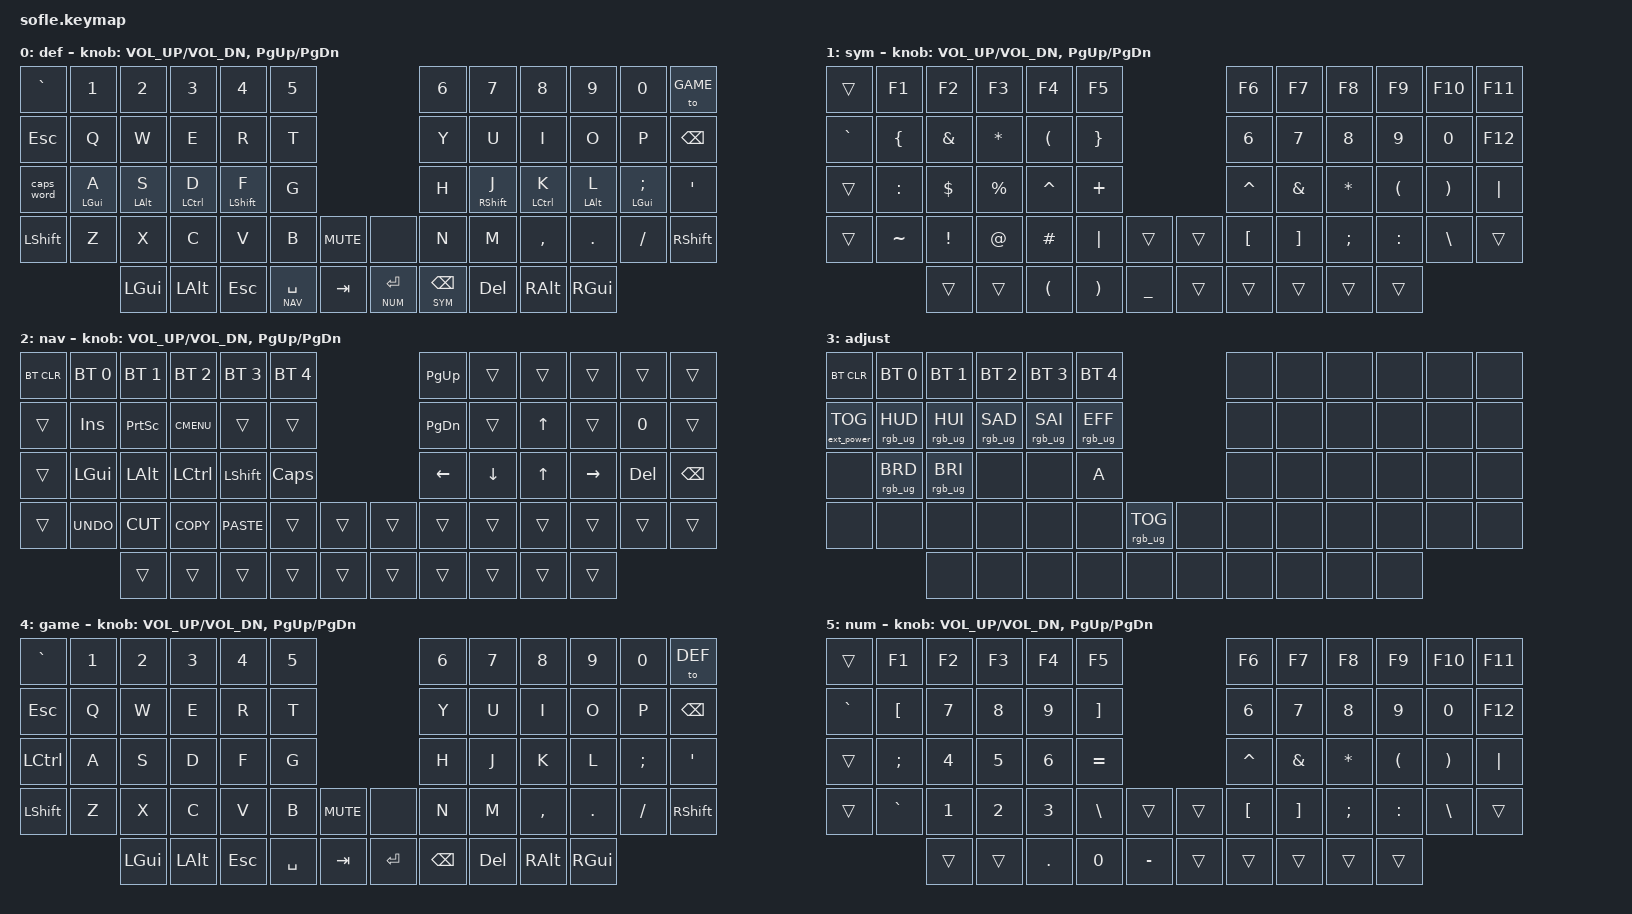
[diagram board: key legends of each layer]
/*
 * Copyright (c) 2020 The ZMK Contributors
 *
 * SPDX-License-Identifier: MIT
 */
#include "zmk-helpers/helper.h"
#include "zmk-helpers/key-labels/sofle.h"

#include <behaviors.dtsi>
#include <dt-bindings/zmk/keys.h>
#include <dt-bindings/zmk/bt.h>
#include <dt-bindings/zmk/rgb.h>
#include <dt-bindings/zmk/ext_power.h>

  
#define DEF 0
#define SYM 1
#define NAV 2
#define ADJUST 3
#define GAME 4
#define NUM 5



#define NUMROW LN0 LN1 LN2 LN3 LN4 LN5 RN0 RN1 RN2 RN3 RN4 RN5
#define KEYS_L LT0 LT1 LT2 LT3 LT4 LT5 LM0 LM1 LM2 LM3 LM4 LM5 LB0 LB1 LB2 LB3 LB4 LB5
#define KEYS_R RT0 RT1 RT2 RT3 RT4 RT5 RM0 RM1 RM2 RM3 RM4 RM5 RB0 RB1 RB2 RB3 RB4 RB5
#define THUMBS_L LH0 LH1 LH2 LH3 LH4
#define THUMBS_R RH0 RH1 RH2 RH3 RH4
#define THUMBS THUMBS_L THUMBS_R
  
ZMK_HOLD_TAP(hml,
    flavor = "balanced";
    tapping-term-ms = <280>;
    require-prior-idle-ms = <150>;
    hold-trigger-key-positions = <KEYS_R THUMBS>;
    hold-trigger-on-release;
    bindings = <&kp>, <&kp>;
)

ZMK_HOLD_TAP(hmr,
    flavor = "balanced";
    tapping-term-ms = <280>;
    require-prior-idle-ms = <150>;
    hold-trigger-key-positions = <KEYS_L THUMBS>;
    hold-trigger-on-release;
    bindings = <&kp>, <&kp>;
)

/ {

   // Activate ADJUST layer by pressing raise and lower
    conditional_layers {
        compatible = "zmk,conditional-layers";
        adjust_layer {
            if-layers = <NAV SYM>;
            then-layer = <ADJUST>;
        };
    };

    keymap {
        compatible = "zmk,keymap";

        def_layer {
            display-name = "def";
// ------------------------------------------------------------------------------------------------------------
// |   `   |  1  |  2  |  3   |  4   |  5   |                   |  6   |  7    |  8    |  9   |   0   |       |
// |  ESC  |  Q  |  W  |  E   |  R   |  T   |                   |  Y   |  U    |  I    |  O   |   P   | BKSPC |
// |  TAB  |  A  |  S  |  D   |  F   |  G   |                   |  H   |  J    |  K    |  L   |   ;   |   '   |
// | SHIFT |  Z  |  X  |  C   |  V   |  B   |  MUTE  |  |       |  N   |  M    |  ,    |  .   |   /   | SHIFT |
//               | GUI | ALT  | CTRL | LOWER|  ENTER |  | SPACE | RAISE| CTRL  | ALT   | GUI  |
            bindings = <
&kp GRAVE   &kp N1          &kp N2              &kp N3          &kp N4          &kp N5                                              &kp N6          &kp N7          &kp N8          &kp N9          &kp N0          &to GAME
&kp ESC     &kp Q           &kp W               &kp E           &kp R           &kp T                                               &kp Y           &kp U           &kp I           &kp O           &kp P           &kp BSPC
&caps_word  &hml LGUI A     &hml LALT S         &hml LCTRL D    &hml LSHFT F    &kp G                                               &kp H           &hmr RSHFT J    &hmr LCTRL K    &hmr LALT L     &hmr LGUI SEMI  &kp SQT
&kp LSHFT   &kp Z           &kp X               &kp C           &kp V           &kp B           &kp C_MUTE          &none           &kp N           &kp M           &kp COMMA       &kp DOT         &kp FSLH        &kp RSHFT
                            &kp LGUI            &kp LALT        &kp ESC   &lt NAV SPACE         &kp TAB             &lt NUM RET         &lt SYM BSPC    &kp DEL     &kp RALT        &kp RGUI
            >;

            sensor-bindings = <&inc_dec_kp C_VOL_UP C_VOL_DN &inc_dec_kp PG_UP PG_DN>;
        };

        sym_layer {
            display-name = "sym";
// TODO: Some binds are waiting for shifted keycode support.
// ------------------------------------------------------------------------------------------------------------
// |       |  F1 |  F2 |  F3  |  F4  |  F5  |                   |  F6  |  F7   |  F8   |  F9  |  F10  |  F11  |
// |   `   |  1  |  2  |  3   |  4   |  5   |                   |  6   |  7    |  8    |  9   |   0   |  F12  |
// |       |  !  |  @  |  #   |  $   |  %   |                   |  ^   |  &    |  *    |  (   |   )   |   |   |
// |       |  =  |  -  |  +   |  {   |  }   |        |  |       |  [   |  ]    |  ;    |  :   |   \   |       |
//               |     |      |      |      |        |  |       |      |       |       |      |
            bindings = <
&trans      &kp F1        &kp F2        &kp F3        &kp F4        &kp F5                              &kp F6    &kp F7   &kp F8    &kp F9    &kp F10   &kp F11
&kp GRAVE   &kp LBRC      &kp AMPS      &kp ASTRK     &kp LPAR      &kp RBRC                            &kp N6    &kp N7   &kp N8    &kp N9    &kp N0    &kp F12
&trans      &kp COLON     &kp DLLR      &kp PRCNT     &kp CARET     &kp PLUS                            &kp CARET &kp AMPS &kp ASTRK &kp LPAR  &kp RPAR  &kp PIPE
&trans      &kp TILDE     &kp EXCL      &kp AT        &kp HASH      &kp PIPE      &trans        &trans  &kp LBKT  &kp RBKT &kp SEMI  &kp COLON &kp BSLH  &trans
                          &trans        &trans        &kp LPAR      &kp RPAR      &kp UNDER     &trans  &trans    &trans   &trans    &trans
            >;

            sensor-bindings = <&inc_dec_kp C_VOL_UP C_VOL_DN &inc_dec_kp PG_UP PG_DN>;
        };

        nav_layer {
            display-name = "nav";
// ------------------------------------------------------------------------------------------------------------
// | BTCLR | BT1  | BT2  |  BT3  |  BT4  |  BT5 |                |      |      |       |      |       |       |
// |       | INS  | PSCR | GUI   |       |      |                | PGUP |      |   ^   |      |       |       |
// |       | ALT  | CTRL | SHIFT |       | CAPS |                | PGDN |   <- |   v   |  ->  |  DEL  | BKSPC |
// |       | UNDO | CUT  | COPY  | PASTE |      |      |  |      |      |      |       |      |       |       |
//                |      |       |       |      |      |  |      |      |      |       |      |
            bindings = <
&bt BT_CLR &bt BT_SEL 0 &bt BT_SEL 1 &bt BT_SEL 2 &bt BT_SEL 3 &bt BT_SEL 4                  &kp PG_UP      &trans      &trans   &trans    &trans  &trans
&trans     &kp INS      &kp PSCRN    &kp K_CMENU  &trans       &trans                        &kp PG_DN      &trans      &kp UP   &trans    &kp N0  &trans
&trans     &kp LGUI     &kp LALT     &kp LCTRL    &kp LSHFT    &kp CLCK                      &kp LEFT       &kp DOWN    &kp UP   &kp RIGHT &kp DEL &kp BSPC
&trans     &kp K_UNDO   &kp K_CUT    &kp K_COPY   &kp K_PASTE  &trans        &trans  &trans  &trans         &trans      &trans   &trans    &trans  &trans
                        &trans       &trans       &trans       &trans        &trans  &trans  &trans         &trans      &trans   &trans
            >;

            sensor-bindings = <&inc_dec_kp C_VOL_UP C_VOL_DN &inc_dec_kp PG_UP PG_DN>;
        };

        adjust_layer {
// ----------------------------------------------------------------------------------------------------------------------------
// | BTCLR  |  BT1    |  BT2    |   BT3   |   BT4   |   BT5   |                  |      |      |       |      |       |       |
// | EXTPWR | RGB_HUD | RGB_HUI | RGB_SAD | RGB_SAI | RGB_EFF |                  |      |      |       |      |       |       |
// |        | RGB_BRD | RGB_BRI |         |         |         |                  |      |      |       |      |       |       |
// |        |         |         |         |         |         | RGB_TOG | |      |      |      |       |      |       |       |
//                    |         |         |         |         |         | |      |      |      |       |      |
            display-name = "adjust";
            bindings = <
&bt BT_CLR        &bt BT_SEL 0    &bt BT_SEL 1    &bt BT_SEL 2    &bt BT_SEL 3    &bt BT_SEL 4                            &none &none &none &none &none &none
&ext_power EP_TOG &rgb_ug RGB_HUD &rgb_ug RGB_HUI &rgb_ug RGB_SAD &rgb_ug RGB_SAI &rgb_ug RGB_EFF                         &none &none &none &none &none &none
&none             &rgb_ug RGB_BRD &rgb_ug RGB_BRI &none           &none           &kp A                                   &none &none &none &none &none &none
&none             &none           &none           &none           &none           &none            &rgb_ug RGB_TOG &none  &none &none &none &none &none &none
                                  &none           &none           &none           &none            &none           &none  &none &none &none &none
            >;
        };

                game_layer {
            display-name = "game";
// ------------------------------------------------------------------------------------------------------------
// |   `   |  1  |  2  |  3   |  4   |  5   |                   |  6   |  7    |  8    |  9   |   0   |       |
// |  ESC  |  Q  |  W  |  E   |  R   |  T   |                   |  Y   |  U    |  I    |  O   |   P   | BKSPC |
// |  TAB  |  A  |  S  |  D   |  F   |  G   |                   |  H   |  J    |  K    |  L   |   ;   |   '   |
// | SHIFT |  Z  |  X  |  C   |  V   |  B   |  MUTE  |  |       |  N   |  M    |  ,    |  .   |   /   | SHIFT |
//               | GUI | ALT  | CTRL | LOWER|  ENTER |  | SPACE | RAISE| CTRL  | ALT   | GUI  |
            bindings = <
&kp GRAVE   &kp N1          &kp N2              &kp N3          &kp N4          &kp N5                                              &kp N6          &kp N7          &kp N8          &kp N9          &kp N0          &to DEF
&kp ESC     &kp Q           &kp W               &kp E           &kp R           &kp T                                               &kp Y           &kp U           &kp I           &kp O           &kp P           &kp BSPC
&kp LCTRL   &kp A           &kp S               &kp D           &kp F           &kp G                                               &kp H           &kp J           &kp K           &kp L           &kp SEMI        &kp SQT
&kp LSHFT   &kp Z           &kp X               &kp C           &kp V           &kp B           &kp C_MUTE          &none           &kp N           &kp M           &kp COMMA       &kp DOT         &kp FSLH        &kp RSHFT
                            &kp LGUI            &kp LALT        &kp ESC         &kp SPACE       &kp TAB             &kp RET         &kp BSPC        &kp DEL         &kp RALT        &kp RGUI
            >;

            sensor-bindings = <&inc_dec_kp C_VOL_UP C_VOL_DN &inc_dec_kp PG_UP PG_DN>;
        };
                num_layer {
            display-name = "num";

            bindings = <
&trans      &kp F1        &kp F2        &kp F3        &kp F4        &kp F5                              &kp F6    &kp F7   &kp F8    &kp F9    &kp F10   &kp F11
&kp GRAVE   &kp LBKT      &kp N7        &kp N8        &kp N9        &kp RBKT                            &kp N6    &kp N7   &kp N8    &kp N9    &kp N0    &kp F12
&trans      &kp SEMI      &kp N4        &kp N5        &kp N6        &kp EQUAL                            &kp CARET &kp AMPS &kp ASTRK &kp LPAR  &kp RPAR  &kp PIPE
&trans      &kp GRAVE     &kp N1        &kp N2        &kp N3        &kp BSLH      &trans        &trans  &kp LBKT  &kp RBKT &kp SEMI  &kp COLON &kp BSLH  &trans
                          &trans        &trans        &kp DOT       &kp N0        &kp MINUS     &trans  &trans    &trans   &trans    &trans
            >;

            sensor-bindings = <&inc_dec_kp C_VOL_UP C_VOL_DN &inc_dec_kp PG_UP PG_DN>;
        };


    };
};
